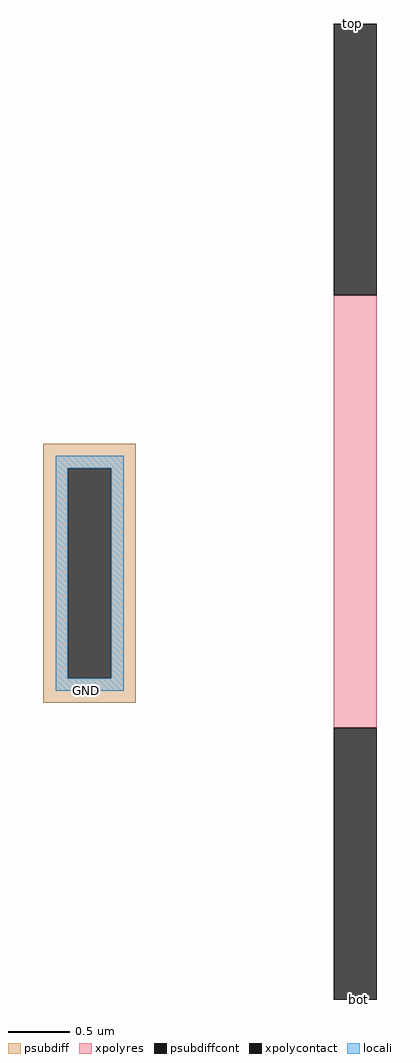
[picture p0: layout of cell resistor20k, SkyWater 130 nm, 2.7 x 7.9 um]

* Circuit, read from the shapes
.subckt resistor20k GND bot top
XR1 top bot GND sky130_fd_pr__res_xhigh_po w=0.35 l=3.5
.ends

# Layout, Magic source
magic
tech sky130A
<< psubdiff >>
rect -235 210 -160 230
rect -235 40 -215 210
rect -180 40 -160 210
rect -235 20 -160 40
<< psubdiffcont >>
rect -215 40 -180 210
<< xpolycontact >>
rect 0 350 35 570
rect 0 -220 35 0
<< xpolyres >>
rect 0 0 35 350
<< locali >>
rect -225 210 -170 220
rect -225 40 -215 210
rect -180 40 -170 210
rect -225 30 -170 40
<< labels >>
rlabel xpolycontact 15 570 15 570 1 top
rlabel xpolycontact 20 -220 20 -220 5 bot
rlabel locali -200 30 -200 30 5 GND
<< end >>
